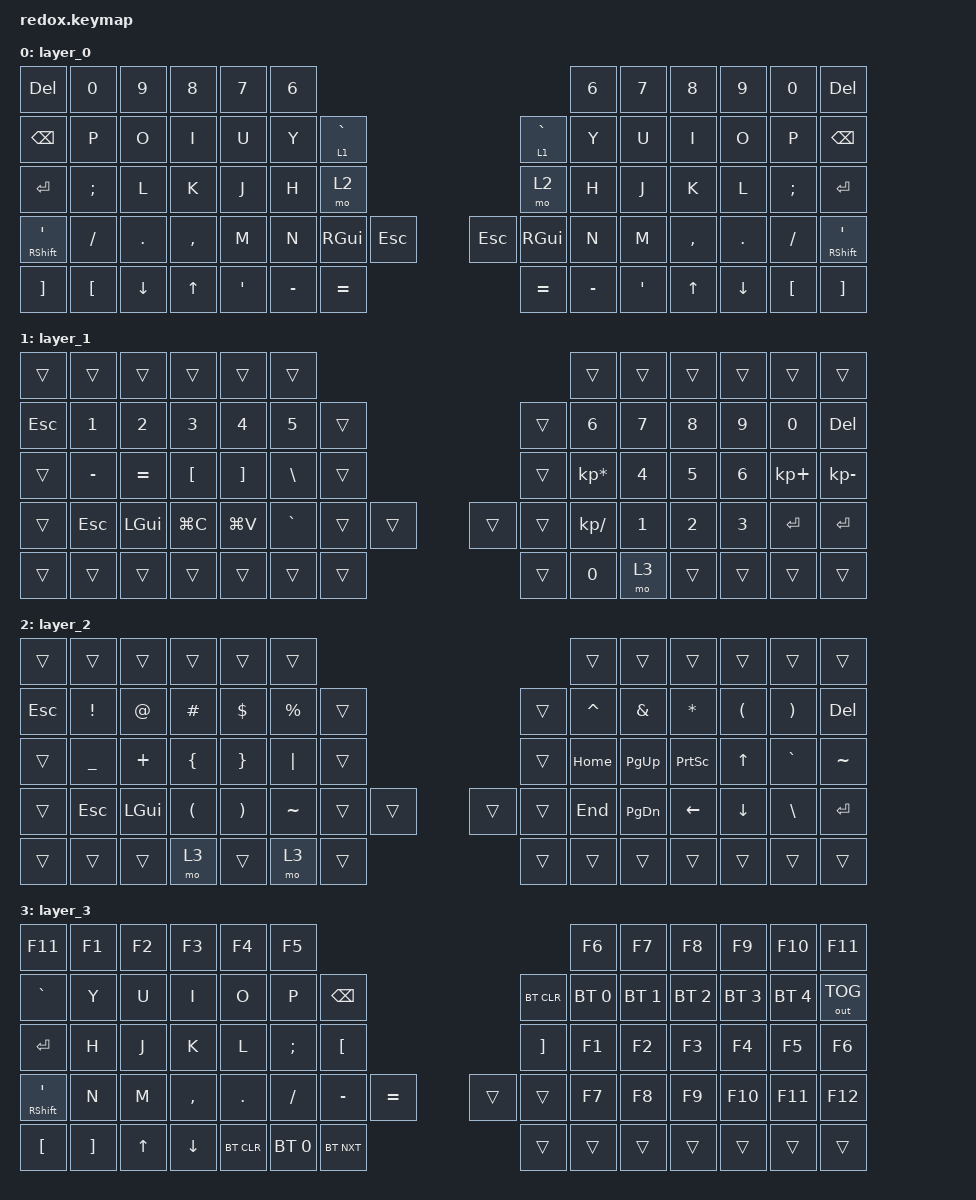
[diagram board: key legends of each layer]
/*
 * Copyright (c) 2021 The ZMK Contributors
 *
 * SPDX-License-Identifier: MIT
 */

#include <behaviors.dtsi>
#include <dt-bindings/zmk/keys.h>
#include <dt-bindings/zmk/bt.h>
#include <dt-bindings/zmk/outputs.h>

/ {
    keymap {
        compatible = "zmk,keymap";

        layer_0 {
            // --------------------------------------------------------------------------------------------------------------------------------
            // | ESC   |  1  |  2  |   3   |  4  |  5  |                   ---                |  6    |  7    |  8    |  9   | 0  |    BKSP   |
            // | TAB   |  Q  |  W  |   E   |  R  |  T  |   (   |           ---        |  )    |  Y    |  U    |  I    |  O   | P  |     -     |
            // | CTRL  |  A  |  S  |   D   |  F  |  G  |   [   |           ---        |  ]    |  H    |  J    |  K    |  L   | ;  |     '     |
            // | SHIFT |  Z  |  X  |   C   |  V  |  B  | PG_UP | PG_DOWN | --- | HOME | END   |  N    |  M    |  ,    |  .   | /  | SHFT(RET) |
            // | CRTL  | ALT | GUI | LOWER |    GUI    | SPACE | RET | --- | RET | BKSP |     RAISE     | LEFT  | DOWN | UP |   RIGHT   |

            bindings = <
             &kp DEL            &kp N0          &kp N9        &kp N8  &kp N7   &kp N6                                                  &kp N6           &kp N7        &kp N8          &kp N9            &kp N0              &kp DEL
       &kp BACKSPACE             &kp P           &kp O         &kp I   &kp U    &kp Y  &lt 1 GRAVE                        &lt 1 GRAVE   &kp Y            &kp U         &kp I           &kp O             &kp P        &kp BACKSPACE
           &kp ENTER          &kp SEMI           &kp L         &kp K   &kp J    &kp H        &mo 2                              &mo 2   &kp H            &kp J         &kp K           &kp L          &kp SEMI            &kp ENTER
 &mt RIGHT_SHIFT SQT         &kp SLASH         &kp DOT     &kp COMMA   &kp M    &kp N     &kp RGUI    &kp ESC    &kp ESC     &kp RGUI   &kp N            &kp M     &kp COMMA         &kp DOT          &kp FSLH  &mt RIGHT_SHIFT SQT
   &kp RIGHT_BRACKET  &kp LEFT_BRACKET  &kp DOWN_ARROW  &kp UP_ARROW          &kp SQT    &kp MINUS  &kp EQUAL  &kp EQUAL    &kp MINUS          &kp SQT          &kp UP_ARROW  &kp DOWN_ARROW  &kp LEFT_BRACKET    &kp RIGHT_BRACKET
            >;
        };

        layer_1 {
            // --------------------------------------------------------------------------------------------------------------------------
            // | ESC   |  1  |  2  |   3   |   4   |  5  |                   ---              |  6  |  7  |   8  |  9   |  0  |  DEL  |
            // | ESC   |  1  |  2  |   3   |   4   |  5  |   (   |           ---        |  )  |  6  |  7  |   8  |  9   |  0  |  DEL  |
            // | CTRL  |  -  |  =  |   [   |   ]   |  \  |   [   |           ---        |  ]  |  *  |  4  |   5  |  6   |  +  |   -   |
            // | SHIFT | ESC | GUI | COPY  | PASTE |     | PG_UP | PG_DOWN | --- | HOME | END |  \  |  1  |   2  |  3   | RET |  RET  |
            // | CRTL  | ALT | GUI | LOWER |     GUI     | LOWER | SPACE   | --- | DEL  |  0  |    RAISE  | LEFT | DOWN | UP  | RIGHT |

            bindings = <
  &trans     &trans     &trans     &trans     &trans     &trans                                           &trans          &trans  &trans  &trans       &trans        &trans
 &kp ESC     &kp N1     &kp N2     &kp N3     &kp N4     &kp N5  &trans                  &trans           &kp N6          &kp N7  &kp N8  &kp N9       &kp N0       &kp DEL
  &trans  &kp MINUS  &kp EQUAL   &kp LBKT   &kp RBKT   &kp BSLH  &trans                  &trans  &kp KP_MULTIPLY          &kp N4  &kp N5  &kp N6  &kp KP_PLUS  &kp KP_MINUS
  &trans    &kp ESC   &kp LGUI  &kp LG(C)  &kp LG(V)  &kp GRAVE  &trans  &trans  &trans  &trans    &kp KP_DIVIDE          &kp N1  &kp N2  &kp N3      &kp RET       &kp RET
  &trans     &trans     &trans     &trans                &trans  &trans  &trans  &trans  &kp N0                    &mo 3          &trans  &trans       &trans        &trans
            >;
        };

        layer_2 {
            // ----------------------------------------------------------------------------------------------------------------------------
            // | ESC   |  1  |  2  |   3   |  4  |  5  |                   ---                |  6   |  7   |  8   |  9   |  0    |  DEL  |
            // | ESC   |  !  |  @  |   #   |  $  |  %  |   (   |           ---        |  )    |  ^   |  &   |  *   |  (   |  )    |  DEL  |
            // | CTRL  |  _  |  +  |   {   |  }  | "|" |   [   |           ---        |  ]    | HOME | PGUP | PRSC | UP   |  `    |   ~   |
            // | SHIFT | ESC | GUI |   (   |  )  |     | PG_UP | PG_DOWN | --- | HOME | END   | END  | PGDN | LEFT | DOWN | RIGHT |  RET  |
            // | CRTL  | ALT | GUI | LOWER |    GUI    | LOWER | SPACE   | --- | DEL  | SPACE |    RAISE    | LEFT | DOWN | UP    | RIGHT |

            bindings = <
  &trans     &trans    &trans    &trans    &trans     &trans                                     &trans             &trans     &trans    &trans         &trans     &trans
 &kp ESC   &kp EXCL    &kp AT  &kp HASH  &kp DLLR  &kp PRCNT  &trans                  &trans  &kp CARET           &kp AMPS  &kp ASTRK  &kp LPAR       &kp RPAR    &kp DEL
  &trans  &kp UNDER  &kp PLUS  &kp LBRC  &kp RBRC   &kp PIPE  &trans                  &trans   &kp HOME          &kp PG_UP  &kp PSCRN    &kp UP      &kp GRAVE  &kp TILDE
  &trans    &kp ESC  &kp LGUI  &kp LPAR  &kp RPAR  &kp TILDE  &trans  &trans  &trans  &trans    &kp END          &kp PG_DN   &kp LEFT  &kp DOWN  &kp BACKSLASH    &kp RET
  &trans     &trans    &trans     &mo 3               &trans   &mo 3  &trans  &trans  &trans             &trans                &trans    &trans         &trans     &trans
            >;
        };

        layer_3 {
            // -----------------------------------------------------------------------------------------
            // |  F1   |  F2   |    F3    |    F4     |     F5     | F6 |                   ---                | F7  | F8  |  F9  |  F10 | F11 | F12        |
            // | TAB   |       |          |           |            |    | BOOTL |           ---        |  )    | BT1 | BT2 |  BT3 |  BT4 | BT5 | OUTPUT TGL |
            // | CTRL  | MUTE  |  Vol Dn  |  Vol Up   | Play/Pause |    | RESET |           ---        |  ]    | F1  | F2  |  F3  |  F4  | F5  | F6         |
            // | SHIFT | PSCRN |  PSCRN   |   CAPS    |            |    | PG_UP | PG_DOWN | --- | HOME | END   | F7  | F8  |  F9  |  F10 | F11 | F12        |
            // | CRTL  | ALT   |  GUI     |   LOWER   |      GUI        | LOWER | SPACE   | --- | DEL  | SPACE |   RAISE   | LEFT | DOWN | UP  |   RIGHT    |

            bindings = <
             &kp F11             &kp F1        &kp F2          &kp F3   &kp F4      &kp F5                                                                 &kp F6                &kp F7        &kp F8        &kp F9       &kp F10       &kp F11
           &kp GRAVE              &kp Y         &kp U           &kp I    &kp O       &kp P     &kp BACKSPACE                             &bt BT_CLR  &bt BT_SEL 0          &bt BT_SEL 1  &bt BT_SEL 2  &bt BT_SEL 3  &bt BT_SEL 4  &out OUT_TOG
           &kp ENTER              &kp H         &kp J           &kp K    &kp L    &kp SEMI  &kp LEFT_BRACKET                      &kp RIGHT_BRACKET        &kp F1                &kp F2        &kp F3        &kp F4        &kp F5        &kp F6
 &mt RIGHT_SHIFT SQT              &kp N         &kp M       &kp COMMA  &kp DOT   &kp SLASH         &kp MINUS   &kp EQUAL  &trans             &trans        &kp F7                &kp F8        &kp F9       &kp F10       &kp F11       &kp F12
    &kp LEFT_BRACKET  &kp RIGHT_BRACKET  &kp UP_ARROW  &kp DOWN_ARROW           &bt BT_CLR      &bt BT_SEL 0  &bt BT_NXT  &trans             &trans                &trans                      &trans        &trans        &trans        &trans
            >;
        };
    };
};
